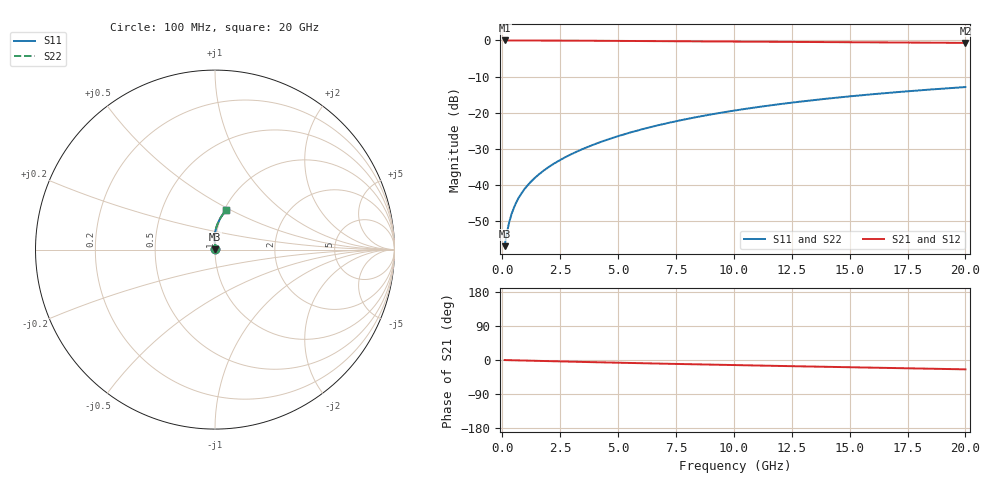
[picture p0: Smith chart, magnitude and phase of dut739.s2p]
! Touchstone file exported from HFSS 2024.1.0
!  File:  C:/UserFiles/LocalFiles/RDL_TSV_Batchsim/temp_RDL_top_739_1779851372.aedt
!  Generated:  11:11:30 AM May 27, 2026
!  Design:  RDL_top
!  Project:  temp_RDL_top_739_1779851372
!  Setup:  Setup1
!  Solution:  Sweep
! Variables:
!  dtsv = 10.80580581um
!  hbump = 3um
!  htsv = 94.67um
!  ldown = 100um
!  lrdl = 335.35um
!  p = 40
!  p1 = 56.66um
!  rhole = 1um
!  t = 450um
!  tdown = 3.915915916um
!  trdl = 4.87um
!  wdown = 15.38538539um
!  wrdl = 28.21um
# GHz S MA R 50.000000
! Terminal data exported
! Port[1] = Box2_T1
! Port[2] = Box2_T2
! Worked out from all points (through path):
!   200 points, 100 MHz to 20 GHz, reference 50 ohm
!   highest |S21| = -0.01 dB at 100 MHz (marker M1); lowest = -0.7 dB at 20 GHz (marker M2)
!   group delay of S21, straight-line fit = 3.37 ps
!   lowest |S11| = -56.8 dB at 100 MHz (marker M3), VSWR 1.00, Z = 50.1 + j0.0979 ohm
!   |S11| at or under -10 dB: start of sweep to end of sweep
!   |S22| runs from -56.8 to -12.9 dB; largest |S21 - S12| = 2.4e-15
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0.1  0.001438 42.8  0.9989 -0.2  0.9989 -0.2  0.001438 42.8
! Gamma 0 0 0 0
! Port Impedance 50 0 50 0
0.2  0.002222 61.0  0.9988 -0.3  0.9988 -0.3  0.002222 61.0
0.3  0.003099 69.1  0.9987 -0.5  0.9987 -0.5  0.003099 69.1
0.4  0.003992 73.5  0.9986 -0.6  0.9986 -0.6  0.003992 73.5
0.5  0.00488 76.2  0.9985 -0.8  0.9985 -0.8  0.00488 76.2
0.7  0.006623 79.5  0.9983 -1.1  0.9983 -1.1  0.006623 79.5
0.8  0.00748 80.7  0.9982 -1.2  0.9982 -1.2  0.00748 80.7
1  0.009179 82.6  0.9979 -1.5  0.9979 -1.5  0.009178 82.6
1.4  0.01257 85.2  0.9973 -2.1  0.9973 -2.1  0.01257 85.2
1.7  0.01516 86.7  0.9967 -2.6  0.9967 -2.6  0.01516 86.7
2  0.01779 87.9  0.996 -3.0  0.996 -3.0  0.01779 87.9
2.7  0.02417 90.0  0.994 -4.0  0.994 -4.0  0.02417 90.0
3.5  0.0319 91.4  0.9912 -5.1  0.9912 -5.1  0.03189 91.4
4.2  0.03903 92.1  0.9885 -6.1  0.9885 -6.1  0.03903 92.1
5  0.04759 92.4  0.9852 -7.2  0.9852 -7.2  0.04759 92.4
6.8  0.06815 91.9  0.9774 -9.5  0.9774 -9.5  0.06814 91.9
8.4  0.08743 90.4  0.9704 -11.5  0.9704 -11.5  0.08742 90.4
10.1  0.1084 88.3  0.9633 -13.5  0.9633 -13.5  0.1084 88.3
11.7  0.1283 86.1  0.9568 -15.4  0.9568 -15.4  0.1283 86.1
13.4  0.1493 83.7  0.9502 -17.3  0.9502 -17.3  0.1492 83.7
16.7  0.189 79.0  0.9375 -21.0  0.9375 -21.0  0.1889 79.0
20  0.2268 74.4  0.9249 -24.7  0.9249 -24.7  0.2268 74.4
